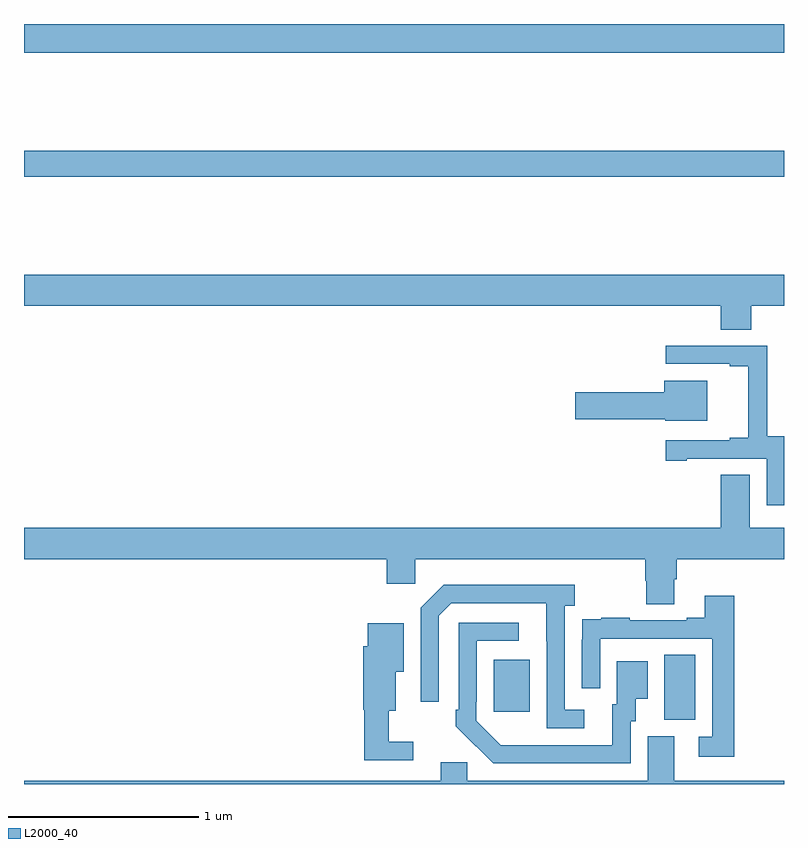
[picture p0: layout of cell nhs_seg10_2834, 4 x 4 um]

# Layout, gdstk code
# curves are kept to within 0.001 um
import gdstk
lib = gdstk.Library(unit=1e-6, precision=1e-09)
def R(c, l, rs):  # rectangles x0, y0, x1, y1
    for r in rs: c.add(gdstk.rectangle(r[:2], r[2:], *l))
def P(c, l, *ps):  # polygons
    for p in ps: c.add(gdstk.Polygon(p, *l))
L2000_40 = (2000, 40)

nhs_seg10_2834 = lib.new_cell('nhs_seg10_2834')
R(nhs_seg10_2834, L2000_40, [(268.37,1264.837,268.534,1265.18), (267.473,1264.881,267.661,1265.155), (265,1267.696,269,1267.832), (265,1268.348,269,1268.5)])
P(nhs_seg10_2834, L2000_40, [(268.827,1267.016),(269,1267.016),(269,1267.18),(265,1267.18),(265,1267.016),(268.667,1267.016),(268.667,1266.892),(268.827,1266.892)],
  [(269,1266.329),(268.911,1266.329),(268.911,1266.807),(268.377,1266.807),(268.377,1266.711),(268.715,1266.711),(268.715,1266.699),(268.811,1266.699),(268.811,1266.322),(268.715,1266.322),(268.715,1266.309),(268.377,1266.309),(268.377,1266.201),(268.489,1266.201),(268.489,1266.213),(268.908,1266.213),(268.908,1265.967),(269,1265.967)],
  [(268.597,1266.622),(268.37,1266.622),(268.37,1266.561),(267.9,1266.561),(267.9,1266.419),(268.374,1266.419),(268.374,1266.413),(268.597,1266.413)],
  [(268.423,1265.578),(268.436,1265.578),(268.436,1265.684),(269,1265.684),(269,1265.848),(268.819,1265.848),(268.819,1266.128),(268.667,1266.128),(268.667,1265.848),(265,1265.848),(265,1265.684),(266.909,1265.684),(266.909,1265.553),(267.06,1265.553),(267.06,1265.684),(268.271,1265.684),(268.271,1265.571),(268.276,1265.571),(268.276,1265.446),(268.423,1265.446)],
  [(267.949,1264.89),(267.846,1264.89),(267.846,1265.438),(267.898,1265.438),(267.898,1265.548),(267.208,1265.548),(267.087,1265.427),(267.087,1264.932),(267.183,1264.932),(267.183,1265.385),(267.249,1265.451),(267.749,1265.451),(267.75,1264.794),(267.949,1264.794)],
  [(268.739,1265.491),(268.583,1265.491),(268.583,1265.374),(268.487,1265.374),(268.487,1265.361),(268.187,1265.361),(268.187,1265.374),(268.039,1265.374),(268.039,1265.367),(267.937,1265.367),(267.937,1265.258),(267.936,1265.258),(267.936,1265.004),(268.032,1265.004),(268.032,1265.265),(268.623,1265.265),(268.623,1264.749),(268.551,1264.749),(268.551,1264.644),(268.739,1264.644)],
  [(268.194,1264.83),(268.219,1264.83),(268.219,1264.949),(268.282,1264.949),(268.282,1265.146),(268.121,1265.146),(268.121,1264.92),(268.097,1264.92),(268.097,1264.704),(267.51,1264.705),(267.381,1264.833),(267.381,1264.933),(267.384,1264.933),(267.384,1265.253),(267.604,1265.253),(267.604,1265.349),(267.288,1265.349),(267.288,1264.891),(267.273,1264.891),(267.273,1264.803),(267.47,1264.608),(268.194,1264.608)],
  [(267.049,1264.723),(266.92,1264.723),(266.92,1264.886),(266.956,1264.886),(266.956,1265.09),(266.998,1265.09),(266.998,1265.347),(266.81,1265.347),(266.81,1265.226),(266.786,1265.226),(266.786,1264.89),(266.791,1264.89),(266.791,1264.626),(267.049,1264.626)],
  [(269,1264.516),(268.423,1264.516),(268.423,1264.752),(268.283,1264.752),(268.283,1264.516),(267.333,1264.516),(267.333,1264.614),(267.194,1264.614),(267.194,1264.516),(265,1264.516),(265,1264.5),(269,1264.5)])

lib.write_gds('nhs_seg10_2834.gds')
